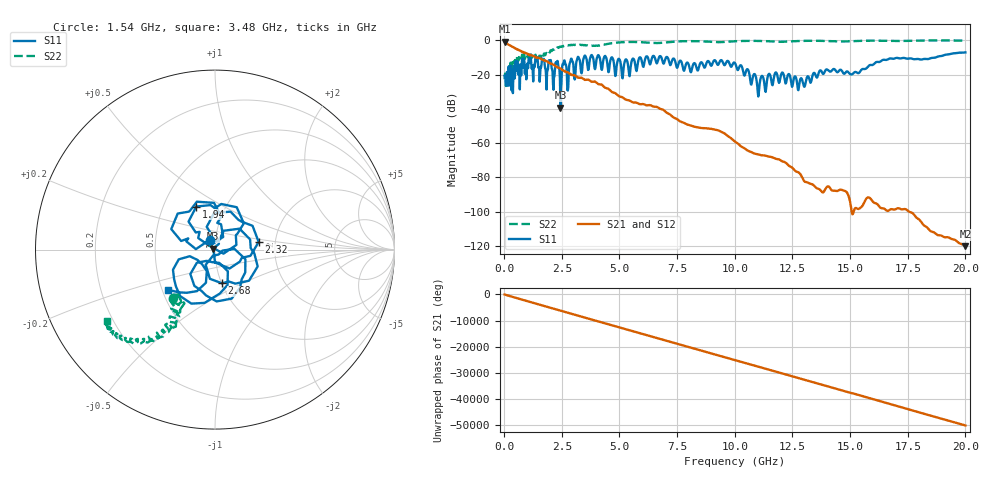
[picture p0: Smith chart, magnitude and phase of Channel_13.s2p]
! Created Sun Jun 24 21:09:15 2012
# hz S ma R 100
! 2 Port Network Data from SP1.SP block
! freq  magS11  angS11  magS21  angS21  magS12  angS12  magS22  angS22
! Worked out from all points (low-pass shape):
!   1000 points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, 20 MHz to 20 GHz, reference 100 ohm
!   highest |S21| = -0.76 dB at 20 MHz (marker M1); lowest = -120.1 dB at 20 GHz (marker M2)
!   |S21| within 3 dB of the highest: start of sweep to 346.9 MHz
!   lowest |S11| = -39.3 dB at 2.44 GHz (marker M3), VSWR 1.02, Z = 98.1 + j0.985 ohm
!   |S11| at or under -10 dB: start of sweep to 3.191 GHz; 4.68 GHz to 5.877 GHz (1.197 GHz wide, 22.7 % of centre); 7.083 GHz to 18.72 GHz (11.64 GHz wide, 90.2 % of centre)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
!   |S22| runs from -26.7 to -0.1 dB; largest |S21 - S12| = 0.00019
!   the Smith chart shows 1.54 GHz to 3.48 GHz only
!   S11 on the Smith chart (normalised r, x): 1.54 GHz: 0.94, +0.10; 1.94 GHz: 0.73, +0.38; 2.32 GHz: 1.63, +0.15; 2.68 GHz: 1.00, -0.39; 3.48 GHz: 0.54, -0.27
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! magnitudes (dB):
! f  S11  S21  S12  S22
! 20 MHz  -20.7  -0.8  -0.8  -22.8
! 580 MHz  -12.5  -5.5  -5.5  -9.8
! 1.54 GHz  -24.2  -10.5  -10.5  -9.0
! 1.94 GHz  -11.7  -13.2  -13.2  -6.4
! 2.16 GHz  -21.7  -14.3  -14.3  -5.5
! 2.32 GHz  -12.1  -16.0  -16.0  -4.1
! 2.44 GHz  -39.3  -16.5  -16.5  -3.9
! 2.6 GHz  -11.8  -18.1  -18.1  -3.2
! 2.68 GHz  -14.3  -18.4  -18.4  -3.2
! 2.9 GHz  -10.8  -20.2  -20.2  -2.7
! 3.36 GHz  -19.3  -21.9  -21.9  -2.8
! 3.48 GHz  -9.3  -23.0  -23.0  -2.8
! 5.14 GHz  -22.2  -33.4  -33.4  -1.1
! 6.68 GHz  -11.3  -39.3  -39.3  -1.6
! 8.1 GHz  -18.7  -49.8  -49.8  -0.5
! 10.02 GHz  -13.6  -59.2  -59.2  -0.6
! 11.02 GHz  -32.8  -66.6  -66.6  -0.4
! 11.78 GHz  -18.8  -69.1  -69.2  -0.8
! 12.76 GHz  -29.1  -77.1  -77.1  -0.5
! 13.34 GHz  -22.4  -83.9  -83.9  -0.3
! 16.68 GHz  -10.8  -99.2  -99.3  -0.4
! 20 GHz  -7.1  -120.1  -120.2  -0.2
